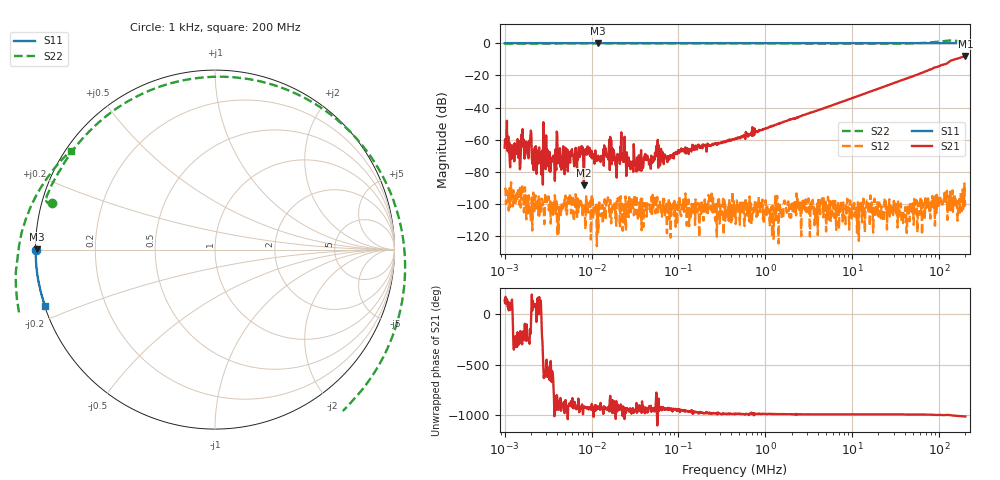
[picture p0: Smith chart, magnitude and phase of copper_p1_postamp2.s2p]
! ListType=Log
# MHZ S RI R 50
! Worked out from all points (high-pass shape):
!   1000 points, 1 kHz to 200 MHz, reference 50 ohm
!   highest |S21| = -8.02 dB at 200 MHz (marker M1); lowest = -88.3 dB at 8.179 kHz (marker M2)
!   |S21| within 3 dB of the highest: 134.6 MHz to end of sweep
!   lowest |S11| = 0.0 dB at 11.95 kHz (marker M3), VSWR 358.75, Z = 0.139 + j0.0236 ohm
!   |S11| at or under -10 dB: nowhere
!   |S22| runs from -0.5 to 1.7 dB; largest |S21 - S12| = 0.4
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0.001  -0.9974 -0.000603  -0.000418 0.000384  -1.15e-05 -2.99e-05  -0.9089 0.26
0.0012159  -0.9984 0.000535  -0.000217 0.000146  2.08e-05 3.1e-06  -0.9136 0.2585
0.0016503  -0.9982 0.000484  -0.00088 0.000537  8.8e-06 -1e-05  -0.9214 0.2575
0.0035634  -0.9983 -0.000668  -0.000146 0.000158  7e-06 -4.8e-06  -0.9369 0.265
0.0040759  -0.9981 -0.000224  -0.000245 0.00015  -7e-07 8e-07  -0.9384 0.2671
0.0076941  -0.9981 -7.9e-05  -0.000511 0.000383  -2.1e-06 8.4e-06  -0.9422 0.2759
0.0081788  -0.9981 -7.4e-05  -3.49e-05 1.66e-05  -4.5e-06 4.3e-06  -0.9422 0.2765
0.011945  -0.9944 0.000941  -0.000249 0.000204  -1.2e-06 6e-07  -0.9435 0.2782
0.019955  -0.998 -5.54e-05  -0.000364 -2.57e-05  -8.5e-06 -1.15e-05  -0.9424 0.2835
0.0228256  -0.9982 -2.32e-05  0.000136 0.000339  -1.5e-06 0  -0.9422 0.2841
0.0284404  -0.9982 -2.52e-05  -0.000117 0.000162  -5e-06 -2.7e-06  -0.9419 0.2852
0.0584804  -0.9982 -0.000206  -0.000131 3.57e-05  1.1e-06 -7.5e-06  -0.9406 0.2882
0.071981  -0.9981 -9.11e-05  -0.000227 0.000169  -9.1e-06 5e-06  -0.94 0.2891
0.4499541  -0.9981 -0.000793  -3.49e-05 0.00111  1.8e-06 7.1e-06  -0.9349 0.303
3.419952  -0.9984 -0.00572  0.000525 0.00705  -1.8e-06 -7.2e-06  -0.8867 0.4028
26.31347  -0.9982 -0.0431  0.004 0.0503  3.6e-06 -3.5e-06  -0.3118 0.9064
50.9003  -0.9961 -0.0826  0.00986 0.0947  -1e-07 -2.3e-06  0.4925 0.8486
81.97236  -0.9908 -0.1323  0.021 0.1533  5.3e-06 -7.1e-06  1.057 -0.0223
103.3922  -0.9854 -0.1663  0.034 0.1981  -9.6e-06 -1.12e-05  0.8402 -0.7545
128.8255  -0.977 -0.2065  0.0471 0.2565  -1.25e-05 -1.01e-05  0.0311 -1.195
164.4859  -0.963 -0.2621  0.1185 0.313  4.6e-06 -3.3e-06  -1.028 -0.5582
200  -0.947 -0.3167  0.1716 0.3581  -1.29e-05 -6.6e-06  -0.8026 0.5506
